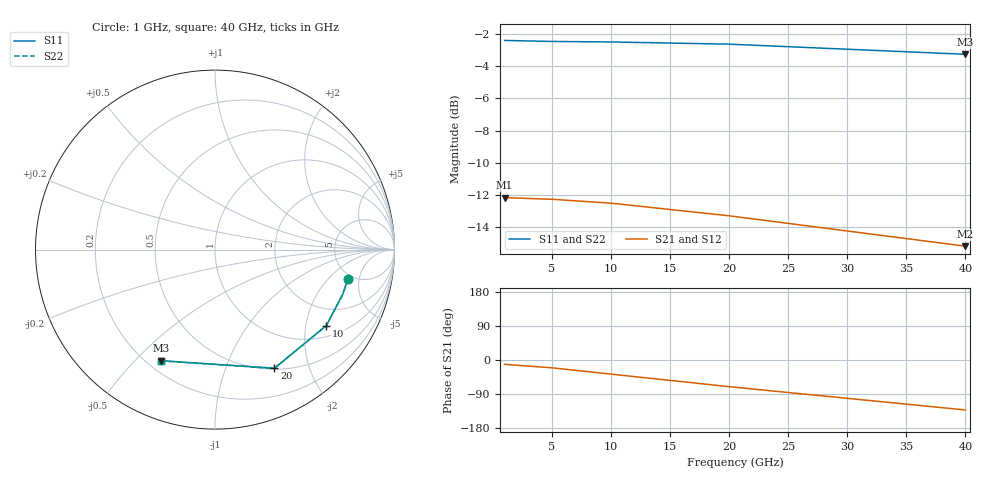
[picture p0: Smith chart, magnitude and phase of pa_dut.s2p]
! Generated by circuitRF - EM: Palace
! circuitRF-EM setup: g_zigzag_sheets
! circuitRF-EM layout: zigzag/layout/zigzag.clay
! circuitRF-EM written: 2026-11-05 00:39:11Z
! circuitRF-EM geometry: 5f7cbed651e4cca4
! circuitRF-EM mesh: be36879526fbbc1a
! circuitRF-EM ports: 09112e32f2d348d5
! circuitRF-EM model: Palace 0.18.1 (0dc74cd, schema 1-7-0)
! Port[1] = port/1
! Port[2] = port/2
! circuitRF-EM port 1: 'port/1' from 'airbox/zmin' to 'Metal1/1', wave (mode 1), 50 Ohm: Palace's S is referred to the mode's own impedance Z_PV, renormalised here to 50 Ohm; reference plane 0 um into the structure from the port face
! circuitRF-EM port 2: 'port/2' from 'airbox/zmin' to 'Metal1/2', wave (mode 1), 50 Ohm: Palace's S is referred to the mode's own impedance Z_PV, renormalised here to 50 Ohm; reference plane 0 um into the structure from the port face
! circuitRF-EM 3D mesh: 16,536 elements initially, 16,536 finally, 0 adaptive pass(es), element order 2
! circuitRF-EM 3D operating temperature: 20 C
! circuitRF-EM 3D run: preset Standard; 16536 -> 16536 tetrahedra; 113970 unknowns; 0 refinement pass(es); 7 frequency sample(s)
! circuitRF-EM 3D run cost: wall 781 s; Palace peak memory 1.9 GB
! circuitRF-EM 3D DC row: circuitRF conduction solve of the conductors, 14,633 elements, 0.22 s; ports as terminal pairs
! circuitRF-EM: re-running the EM setup rewrites this file. If circuitRF reports it as stale, the layout's cross-section changed after this file was written.
# GHz S RI R 50
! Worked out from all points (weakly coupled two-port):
!   5 points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, 1 GHz to 40 GHz, reference 50 ohm
!   highest |S21| = -12.16 dB at 1 GHz (marker M1); lowest = -15.2 dB at 40 GHz (marker M2)
!   lowest |S11| = -3.3 dB at 40 GHz (marker M3), VSWR 5.40, Z = 12.7 - j29.9 ohm
!   |S11| at or under -10 dB: nowhere
!   |S22| runs from -3.2 to -2.4 dB; largest |S21 - S12| = 4.3e-07
!   S11 on the Smith chart (normalised r, x): 1 GHz: 4.49, -3.50; 10 GHz: 1.35, -2.62; 20 GHz: 0.51, -1.49; 40 GHz: 0.25, -0.60
1  0.741 -0.1649  0.2417 -0.0489  0.2417 -0.0489  0.741 -0.1649
5  0.7105 -0.2517  0.2282 -0.0857  0.2282 -0.0857  0.7105 -0.2519
10  0.6202 -0.4235  0.1886 -0.1436  0.1886 -0.1436  0.6201 -0.4239
20  0.331 -0.661  0.0728 -0.204  0.0728 -0.204  0.3306 -0.6618
40  -0.2998 -0.6188  -0.1164 -0.1298  -0.1164 -0.1298  -0.3013 -0.6199
